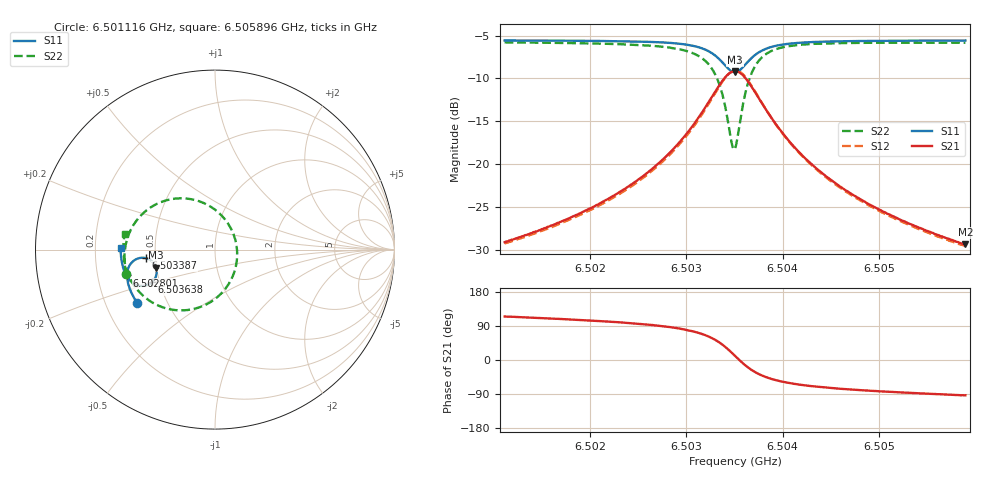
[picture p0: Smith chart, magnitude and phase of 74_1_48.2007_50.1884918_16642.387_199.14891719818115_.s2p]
#  HZ  S  RI  R  50.00
! Rohde & Schwarz Vector Network Analyzer
! Rohde-Schwarz,ZNB20-2Port,1311601062101988,3.16
! Created: UTC 3/20/2024, 11:39:17 AM
! freq[Hz]  re:S11  im:S11  re:S21  im:S21  re:S12  im:S12  re:S22  im:S22
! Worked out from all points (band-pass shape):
!   401 points, 6.501116 GHz to 6.505896 GHz, reference 50 ohm
!   highest |S21| = -9.14 dB at 6.503506 GHz (marker M1); lowest = -29.3 dB at 6.505896 GHz (marker M2)
!   |S21| within 3 dB of the highest: 6.503267 GHz to 6.503745 GHz (477.9 kHz wide, 0.00735 % of centre)
!   lowest |S11| = -9.3 dB at 6.503506 GHz (marker M3), VSWR 2.05, Z = 24.9 - j5.71 ohm
!   |S11| at or under -10 dB: nowhere
!   |S22| runs from -18.3 to -5.8 dB; largest |S21 - S12| = 0.012
!   S11 on the Smith chart (normalised r, x): 6.501116 GHz: 0.34, -0.28; 6.502801 GHz: 0.33, -0.13; 6.503387 GHz: 0.44, -0.05; 6.503638 GHz: 0.45, -0.20; 6.505896 GHz: 0.31, +0.01
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6.5011164e9  -0.4338 -0.2982  -0.0147 0.032  -0.013 0.0321  -0.4942 -0.1379
6.501917e9  -0.4672 -0.2375  -0.0138 0.0507  -0.0114 0.0501  -0.5045 -0.0495
6.502383e9  -0.4828 -0.1946  -0.0102 0.0726  -0.00714 0.0712  -0.4986 0.0205
6.5027176e9  -0.4897 -0.1558  -0.000739 0.1018  0.00295 0.0993  -0.4773 0.0925
6.5028013e9  -0.49 -0.1441  0.00417 0.1125  0.00796 0.1096  -0.4664 0.1158
6.5030044e9  -0.4852 -0.1101  0.0276 0.1482  0.0313 0.1436  -0.4176 0.1853
6.5031478e9  -0.4705 -0.0799  0.0663 0.1825  0.0691 0.1764  -0.3423 0.245
6.5032912e9  -0.4313 -0.0501  0.1506 0.2116  0.1513 0.2054  -0.1884 0.2857
6.503339e9  -0.4093 -0.0454  0.1945 0.2099  0.1945 0.2042  -0.1112 0.2761
6.5033868e9  -0.3833 -0.0479  0.2449 0.1939  0.245 0.1891  -0.0252 0.2397
6.5034704e9  -0.3391 -0.0784  0.325 0.1164  0.3275 0.1121  0.1027 0.0866
6.5035062e9  -0.3282 -0.1014  0.3427 0.066  0.3465 0.0604  0.1232 -0.00821
6.5035301e9  -0.3252 -0.1183  0.346 0.0303  0.3501 0.0233  0.1201 -0.0741
6.503566e9  -0.3276 -0.143  0.338 -0.0213  0.3416 -0.0305  0.091 -0.1654
6.5036377e9  -0.3506 -0.1811  0.2893 -0.0994  0.2892 -0.1114  -0.0238 -0.2917
6.5037333e9  -0.3925 -0.2013  0.2085 -0.1434  0.2035 -0.1539  -0.1884 -0.3386
6.5038886e9  -0.4429 -0.194  0.1182 -0.1423  0.1108 -0.1478  -0.3529 -0.2926
6.5040559e9  -0.4726 -0.1728  0.0691 -0.1206  0.0624 -0.1231  -0.4326 -0.2236
6.5043068e9  -0.4954 -0.1415  0.0354 -0.0931  0.0303 -0.0935  -0.4812 -0.1441
6.5046414e9  -0.5104 -0.1052  0.0165 -0.0694  0.0129 -0.0692  -0.5035 -0.0719
6.5051074e9  -0.5206 -0.0611  0.00547 -0.0509  0.00289 -0.05  -0.5108 -0.00167
6.505896e9  -0.526 0.00643  -0.00183 -0.0342  -0.00333 -0.0333  -0.5036 0.0848
